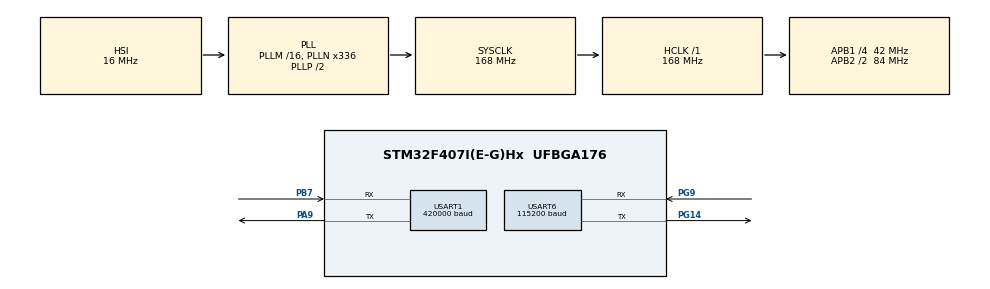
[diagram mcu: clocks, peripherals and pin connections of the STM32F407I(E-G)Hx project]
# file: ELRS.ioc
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Dma.Request0=USART1_RX
Dma.USART1_RX.0.Direction=DMA_PERIPH_TO_MEMORY
Dma.USART1_RX.0.FIFOMode=DMA_FIFOMODE_DISABLE
Dma.USART1_RX.0.Instance=DMA2_Stream2
Dma.USART1_RX.0.MemDataAlignment=DMA_MDATAALIGN_BYTE
Dma.USART1_RX.0.MemInc=DMA_MINC_ENABLE
Dma.USART1_RX.0.Mode=DMA_CIRCULAR
Dma.USART1_RX.0.PeriphDataAlignment=DMA_PDATAALIGN_BYTE
Dma.USART1_RX.0.PeriphInc=DMA_PINC_DISABLE
Dma.USART1_RX.0.Priority=DMA_PRIORITY_MEDIUM
Mcu.Family=STM32F4
Mcu.Name=STM32F407I(E-G)Hx
Mcu.Package=UFBGA176
NVIC.DMA2_Stream2_IRQn=true\:0\:0\:false\:false\:true\:false\:true\:true
NVIC.PriorityGroup=NVIC_PRIORITYGROUP_4
NVIC.USART1_IRQn=true\:0\:0\:false\:false\:true\:true\:true\:true
PA13.Mode=Serial_Wire
PA13.Signal=SYS_JTMS-SWDIO
PA14.Mode=Serial_Wire
PA14.Signal=SYS_JTCK-SWCLK
PA9.Mode=Asynchronous
PA9.Signal=USART1_TX
PB7.Mode=Asynchronous
PB7.Signal=USART1_RX
PG14.Mode=Asynchronous
PG14.Signal=USART6_TX
PG9.Mode=Asynchronous
PG9.Signal=USART6_RX
ProjectManager.HeapSize=0x200
ProjectManager.StackSize=0x400
ProjectManager.TargetToolchain=CMake
RCC.AHBFreq_Value=168000000
RCC.APB1CLKDivider=RCC_HCLK_DIV4
RCC.APB1Freq_Value=42000000
RCC.APB1TimFreq_Value=84000000
RCC.APB2CLKDivider=RCC_HCLK_DIV2
RCC.APB2Freq_Value=84000000
RCC.APB2TimFreq_Value=168000000
RCC.CortexFreq_Value=168000000
RCC.HCLKFreq_Value=168000000
RCC.HSE_VALUE=25000000
RCC.HSI_VALUE=16000000
RCC.LSE_VALUE=32768
RCC.PLLM=16
RCC.PLLN=336
RCC.PLLQ=7
RCC.PLLSourceVirtual=RCC_PLLSOURCE_HSI
RCC.SYSCLKFreq_VALUE=168000000
RCC.SYSCLKSource=RCC_SYSCLKSOURCE_PLLCLK
RCC.VCOOutputFreq_Value=336000000
USART1.BaudRate=420000
USART1.VirtualMode=VM_ASYNC
USART6.BaudRate=115200
USART6.VirtualMode=VM_ASYNC
board=custom

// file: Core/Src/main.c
/* USER CODE BEGIN Header */
/**
  ******************************************************************************
  * @file           : main.c
  * @brief          : Main program body
  ******************************************************************************
  * @attention
  *
  * Copyright (c) 2026 STMicroelectronics.
  * All rights reserved.
  *
  * This software is licensed under terms that can be found in the LICENSE file
  * in the root directory of this software component.
  * If no LICENSE file comes with this software, it is provided AS-IS.
  *
  ******************************************************************************
  */
/* USER CODE END Header */
#include "main.h"

/* USER CODE BEGIN Includes */
#include "Chassis_Remote.h"
#include "ELRS_DMA.h"
#include "elrs_crsf.h"

/* USER CODE END Includes */

UART_HandleTypeDef huart1;
UART_HandleTypeDef huart6;
DMA_HandleTypeDef hdma_usart1_rx;

void SystemClock_Config(void);
static void MX_GPIO_Init(void);
static void MX_DMA_Init(void);
static void MX_USART1_UART_Init(void);
static void MX_USART6_UART_Init(void);

int main(void)
{

  /* MCU Configuration--------------------------------------------------------*/

  /* Reset of all peripherals, Initializes the Flash interface and the Systick. */
  HAL_Init();

  /* Configure the system clock */
  SystemClock_Config();

  /* Initialize all configured peripherals */
  MX_GPIO_Init();
  MX_DMA_Init();
  MX_USART1_UART_Init();
  MX_USART6_UART_Init();
  /* USER CODE BEGIN 2 */
  ELRS_CRSF_Init();
  if (ELRS_DMA_Start(&huart1) != HAL_OK)
  {
    Error_Handler();
  }

  /* USER CODE END 2 */

  /* Infinite loop */
  /* USER CODE BEGIN WHILE */
  while (1)
  {
    ELRS_DMA_Process();
    Chassis_Remote_Update();
    HAL_Delay(1);
    /* USER CODE END WHILE */

  }
}

void SystemClock_Config(void)
{
  RCC_OscInitTypeDef RCC_OscInitStruct = {0};
  RCC_ClkInitTypeDef RCC_ClkInitStruct = {0};

  /** Configure the main internal regulator output voltage
  */
  __HAL_RCC_PWR_CLK_ENABLE();
  __HAL_PWR_VOLTAGESCALING_CONFIG(PWR_REGULATOR_VOLTAGE_SCALE1);

  /** Initializes the RCC Oscillators according to the specified parameters
  * in the RCC_OscInitTypeDef structure.
  */
  RCC_OscInitStruct.OscillatorType = RCC_OSCILLATORTYPE_HSI;
  RCC_OscInitStruct.HSIState = RCC_HSI_ON;
  RCC_OscInitStruct.HSICalibrationValue = RCC_HSICALIBRATION_DEFAULT;
  RCC_OscInitStruct.PLL.PLLState = RCC_PLL_ON;
  RCC_OscInitStruct.PLL.PLLSource = RCC_PLLSOURCE_HSI;
  RCC_OscInitStruct.PLL.PLLM = 16;
  RCC_OscInitStruct.PLL.PLLN = 336;
  RCC_OscInitStruct.PLL.PLLP = RCC_PLLP_DIV2;
  RCC_OscInitStruct.PLL.PLLQ = 7;
  if (HAL_RCC_OscConfig(&RCC_OscInitStruct) != HAL_OK)
  {
    Error_Handler();
  }

  /** Initializes the CPU, AHB and APB buses clocks
  */
  RCC_ClkInitStruct.ClockType = RCC_CLOCKTYPE_HCLK|RCC_CLOCKTYPE_SYSCLK
                              |RCC_CLOCKTYPE_PCLK1|RCC_CLOCKTYPE_PCLK2;
  RCC_ClkInitStruct.SYSCLKSource = RCC_SYSCLKSOURCE_PLLCLK;
  RCC_ClkInitStruct.AHBCLKDivider = RCC_SYSCLK_DIV1;
  RCC_ClkInitStruct.APB1CLKDivider = RCC_HCLK_DIV4;
  RCC_ClkInitStruct.APB2CLKDivider = RCC_HCLK_DIV2;

  if (HAL_RCC_ClockConfig(&RCC_ClkInitStruct, FLASH_LATENCY_5) != HAL_OK)
  {
    Error_Handler();
  }
}

static void MX_USART1_UART_Init(void)
{

  huart1.Instance = USART1;
  huart1.Init.BaudRate = 420000;
  huart1.Init.WordLength = UART_WORDLENGTH_8B;
  huart1.Init.StopBits = UART_STOPBITS_1;
  huart1.Init.Parity = UART_PARITY_NONE;
  huart1.Init.Mode = UART_MODE_TX_RX;
  huart1.Init.HwFlowCtl = UART_HWCONTROL_NONE;
  huart1.Init.OverSampling = UART_OVERSAMPLING_16;
  if (HAL_UART_Init(&huart1) != HAL_OK)
  {
    Error_Handler();
  }

}

static void MX_USART6_UART_Init(void)
{

  huart6.Instance = USART6;
  huart6.Init.BaudRate = 115200;
  huart6.Init.WordLength = UART_WORDLENGTH_8B;
  huart6.Init.StopBits = UART_STOPBITS_1;
  huart6.Init.Parity = UART_PARITY_NONE;
  huart6.Init.Mode = UART_MODE_TX_RX;
  huart6.Init.HwFlowCtl = UART_HWCONTROL_NONE;
  huart6.Init.OverSampling = UART_OVERSAMPLING_16;
  if (HAL_UART_Init(&huart6) != HAL_OK)
  {
    Error_Handler();
  }

}

static void MX_DMA_Init(void)
{

  /* DMA controller clock enable */
  __HAL_RCC_DMA2_CLK_ENABLE();

  /* DMA interrupt init */
  /* DMA2_Stream2_IRQn interrupt configuration */
  HAL_NVIC_SetPriority(DMA2_Stream2_IRQn, 0, 0);
  HAL_NVIC_EnableIRQ(DMA2_Stream2_IRQn);

}

static void MX_GPIO_Init(void)
{

  /* GPIO Ports Clock Enable */
  __HAL_RCC_GPIOG_CLK_ENABLE();
  __HAL_RCC_GPIOA_CLK_ENABLE();
  __HAL_RCC_GPIOB_CLK_ENABLE();
  __HAL_RCC_GPIOD_CLK_ENABLE();

}

/* USER CODE BEGIN 4 */
void HAL_UARTEx_RxEventCallback(UART_HandleTypeDef *huart, uint16_t Size)
{
  if (huart->Instance == USART1)
  {
    ELRS_DMA_UpdateSize(huart, Size);
  }
}

void HAL_UART_ErrorCallback(UART_HandleTypeDef *huart)
{
  if (huart->Instance == USART1)
  {
    ELRS_DMA_HandleError(huart);
  }
}

/* USER CODE END 4 */

void Error_Handler(void)
{
  __disable_irq();
  while (1)
  {
  }
}
